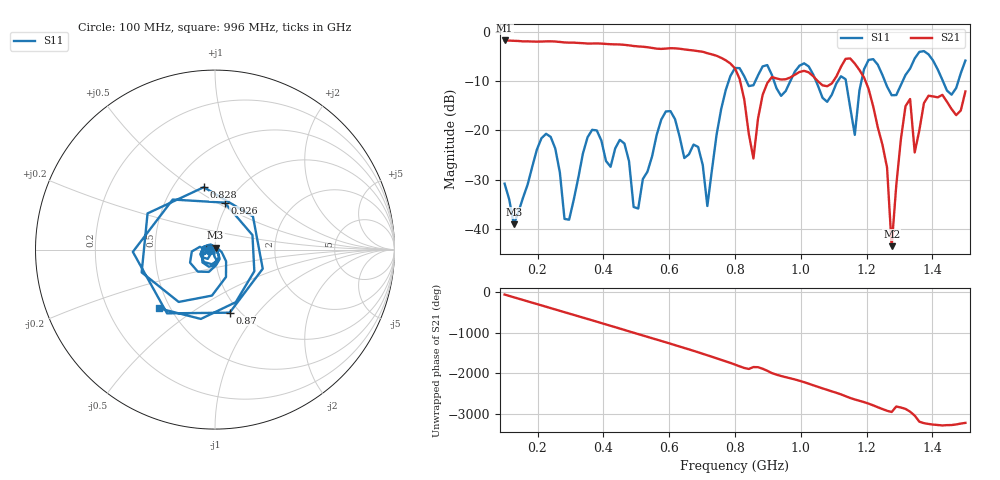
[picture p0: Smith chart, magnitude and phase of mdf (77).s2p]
! NanoVNA-App
! Date: 2025-09-25 15:39:01
! Start: 100MHz Stop: 1,5GHz Points: 101
! S-Parameter data: F S11 S21 S12 S22
# Hz S RI R 50
!  Frequency  S11_Real  S11_Imag  S21_Real  S21_Imag  S12_Real  S12_Imag  S22_Real  S22_Imag
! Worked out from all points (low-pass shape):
!   101 points, 100 MHz to 1.5 GHz, reference 50 ohm
!   highest |S21| = -1.80 dB at 100 MHz (marker M1); lowest = -43.4 dB at 1.276 GHz (marker M2)
!   |S21| within 3 dB of the highest: start of sweep to 739.1 MHz
!   lowest |S11| = -39.0 dB at 128 MHz (marker M3), VSWR 1.02, Z = 50.3 + j1.08 ohm
!   |S11| at or under -10 dB: start of sweep to 781 MHz; 918.4 MHz to 968.3 MHz (49.82 MHz wide, 5.28 % of centre); 1.046 GHz to 1.113 GHz (66.84 MHz wide, 6.19 % of centre) (the widest 3 of 7)
!   S12 and S22 are empty: the file has one direction only
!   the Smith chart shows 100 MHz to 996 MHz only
!   S11 on the Smith chart (normalised r, x): 100 MHz: 0.94, -0.01; 828 MHz: 0.70, +0.56; 870 MHz: 0.90, -0.73; 926 MHz: 0.96, +0.54; 996 MHz: 0.44, -0.36
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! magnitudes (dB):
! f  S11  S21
! 100 MHz  -30.8  -1.8
! 128 MHz  -39.0  -1.9
! 212 MHz  -21.6  -2.0
! 282 MHz  -37.9  -2.2
! 338 MHz  -24.6  -2.4
! 464 MHz  -22.6  -2.7
! 506 MHz  -35.8  -3.0
! 576 MHz  -17.8  -3.5
! 716 MHz  -35.3  -4.4
! 800 MHz  -7.4  -7.5
! 828 MHz  -9.0  -13.7
! 870 MHz  -8.9  -17.6
! 926 MHz  -11.5  -9.5
! 996 MHz  -6.9  -8.2
! 1.038 GHz  -8.7  -9.1
! 1.164 GHz  -20.9  -6.5
! 1.192 GHz  -7.6  -9.3
! 1.262 GHz  -11.1  -27.5
! 1.276 GHz  -12.9  -43.4
! 1.318 GHz  -8.8  -15.1
! 1.346 GHz  -5.4  -24.5
! 1.5 GHz  -5.9  -12.1
